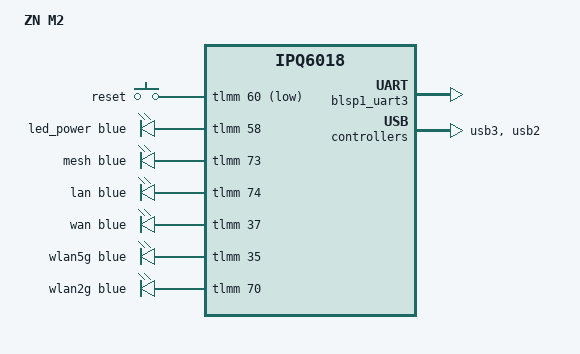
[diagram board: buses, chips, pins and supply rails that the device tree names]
// SPDX-License-Identifier: (GPL-2.0+)
/*
 * ZN M2 board support
 */

/dts-v1/;

#include "ipq6018-512m.dtsi"
#include "ipq6018-cp-cpu.dtsi"
#include "ipq6018-ess.dtsi"
#include <dt-bindings/gpio/gpio.h>
#include <dt-bindings/input/input.h>
#include <dt-bindings/leds/common.h>

/ {
	model = "ZN M2";
	compatible = "zn,m2", "qcom,ipq6018";

	aliases {
		serial0 = &blsp1_uart3;
		ethernet0 = &dp1;
		ethernet1 = &dp2;
		ethernet2 = &dp3;
		ethernet3 = &dp4;
		label-mac-device = &dp1;
		led-boot = &led_power;
		led-failsafe = &led_power;
		led-running = &led_power;
		led-upgrade = &led_power;
	};

	chosen {
		stdout-path = "serial0:115200n8";
		bootargs-append = " root=/dev/ubiblock0_1";
	};

	keys {
		compatible = "gpio-keys";

		reset {
			label = "reset";
			gpios = <&tlmm 60 GPIO_ACTIVE_LOW>;
			linux,code = <KEY_RESTART>;
		};
	};

	leds {
		compatible = "gpio-leds";

		led_power: power {
			color = <LED_COLOR_ID_BLUE>;
			function = LED_FUNCTION_POWER;
			gpios = <&tlmm 58 GPIO_ACTIVE_HIGH>;
		};

		mesh {
			color = <LED_COLOR_ID_BLUE>;
			function = LED_FUNCTION_UNKNOWN;
			gpios = <&tlmm 73 GPIO_ACTIVE_HIGH>;
		};

		lan {
			color = <LED_COLOR_ID_BLUE>;
			function = LED_FUNCTION_LAN;
			gpios = <&tlmm 74 GPIO_ACTIVE_HIGH>;
		};

		wan {
			color = <LED_COLOR_ID_BLUE>;
			function = LED_FUNCTION_WAN;
			gpios = <&tlmm 37 GPIO_ACTIVE_HIGH>;
		};

		wlan5g {
			color = <LED_COLOR_ID_BLUE>;
			function = LED_FUNCTION_WLAN;
			function-enumerator = <0>;
			gpios = <&tlmm 35 GPIO_ACTIVE_HIGH>;
			linux,default-trigger = "phy1radio";
		};

		wlan2g {
			color = <LED_COLOR_ID_BLUE>;
			function = LED_FUNCTION_WLAN;
			function-enumerator = <1>;
			gpios = <&tlmm 70 GPIO_ACTIVE_HIGH>;
			linux,default-trigger = "phy0radio";
		};
	};
};

&blsp1_uart3 {
	pinctrl-0 = <&serial_3_pins>;
	pinctrl-names = "default";
	status = "okay";
};

&tlmm {
	leds_pins: leds-pins {
		pins = "gpio35", "gpio37", "gpio58", "gpio70", "gpio73", "gpio74";
		function = "gpio";
		drive-strength = <8>;
		bias-pull-down;
	};
};

&usb3 {
	status = "okay";
};

&usb2 {
	status = "okay";
};
